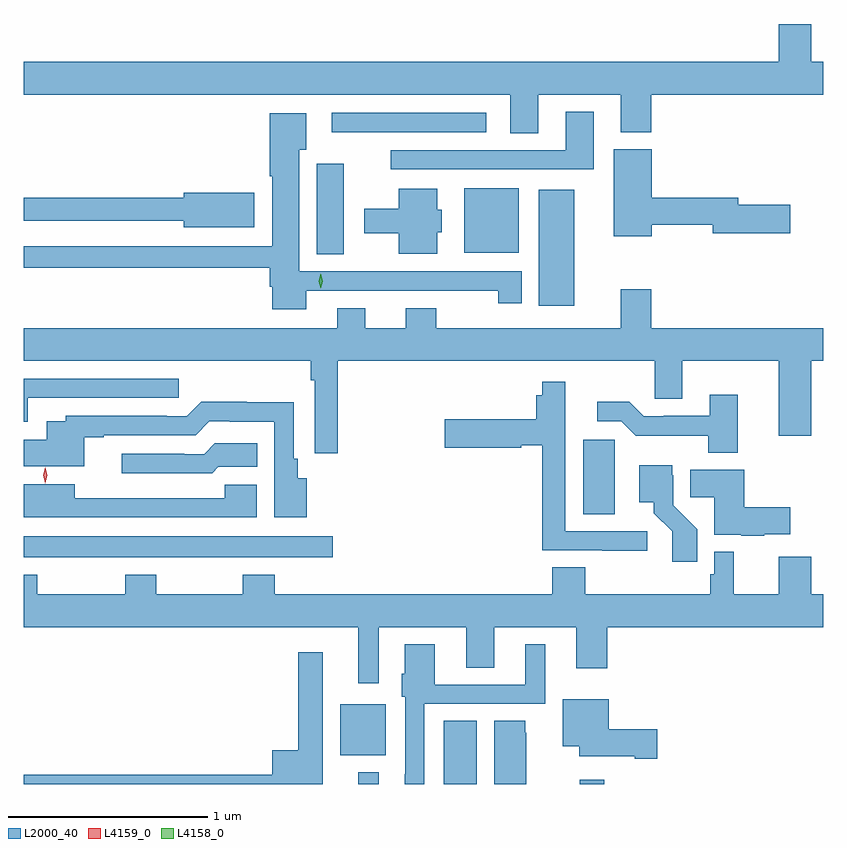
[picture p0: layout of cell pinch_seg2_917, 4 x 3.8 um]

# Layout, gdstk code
import gdstk
lib = gdstk.Library(unit=1e-6, precision=1e-09)
def R(c, l, rs):  # rectangles x0, y0, x1, y1
    for r in rs: c.add(gdstk.rectangle(r[:2], r[2:], *l))
def P(c, l, *ps):  # polygons
    for p in ps: c.add(gdstk.Polygon(p, *l))
L2000_40 = (2000, 40)
L4158_0 = (4158, 0)
L4159_0 = (4159, 0)

pinch_seg2_917 = lib.new_cell('pinch_seg2_917')
R(pinch_seg2_917, L2000_40, [(294.773,658.84,294.877,658.9), (295.202,658.84,295.366,659.156), (295.882,658.84,296.003,658.861), (294.683,658.985,294.91,659.239), (293.1,659.975,294.646,660.079), (295.898,660.19,296.056,660.561), (295.676,661.232,295.855,661.813), (294.566,661.489,294.7,661.942), (295.304,661.496,295.576,661.819), (294.642,662.1,295.414,662.196)])
P(pinch_seg2_917, L2000_40, [(295.675,662.288),(296.087,662.288),(296.087,662.099),(296.24,662.099),(296.24,662.288),(297.1,662.288),(297.1,662.452),(297.04,662.452),(297.04,662.641),(296.876,662.641),(296.876,662.452),(293.1,662.452),(293.1,662.288),(295.535,662.288),(295.535,662.095),(295.675,662.095)],
  [(295.951,662.203),(295.811,662.203),(295.811,662.01),(294.936,662.01),(294.936,661.914),(295.951,661.914)],
  [(294.514,661.308),(295.246,661.308),(295.246,661.307),(295.474,661.307),(295.474,661.245),(295.591,661.245),(295.591,661.404),(294.478,661.404),(294.478,662.012),(294.514,662.012),(294.514,662.194),(294.332,662.194),(294.332,661.879),(294.344,661.879),(294.344,661.53),(293.1,661.53),(293.1,661.422),(294.332,661.422),(294.332,661.328),(294.344,661.328),(294.344,661.214),(294.514,661.214)],
  [(296.242,661.636),(296.546,661.636),(296.546,661.594),(296.935,661.594),(296.935,661.736),(296.674,661.736),(296.674,661.772),(296.242,661.772),(296.242,662.014),(296.051,662.014),(296.051,661.58),(296.242,661.58)],
  [(295.168,661.599),(295.192,661.599),(295.192,661.713),(295.168,661.713),(295.168,661.816),(294.977,661.816),(294.977,661.717),(294.804,661.717),(294.804,661.595),(294.977,661.595),(294.977,661.493),(295.168,661.493)],
  [(294.253,661.796),(293.9,661.796),(293.9,661.772),(293.1,661.772),(293.1,661.656),(293.9,661.656),(293.9,661.625),(294.253,661.625)],
  [(294.671,660.956),(296.256,660.956),(296.256,660.766),(296.395,660.766),(296.395,660.956),(296.876,660.956),(296.876,660.582),(297.04,660.582),(297.04,660.956),(297.1,660.956),(297.1,661.12),(296.24,661.12),(296.24,661.315),(296.087,661.315),(296.087,661.12),(295.163,661.12),(295.163,661.219),(295.01,661.219),(295.01,661.12),(294.808,661.12),(294.808,661.219),(294.668,661.219),(294.668,661.12),(293.1,661.12),(293.1,660.956),(294.535,660.956),(294.535,660.86),(294.555,660.86),(294.555,660.495),(294.671,660.495)],
  [(293.121,660.771),(293.875,660.771),(293.875,660.867),(293.1,660.867),(293.1,660.651),(293.121,660.651)],
  [(296.218,660.105),(295.809,660.105),(295.809,660.853),(295.693,660.853),(295.693,660.784),(295.664,660.784),(295.664,660.663),(295.206,660.663),(295.206,660.521),(295.59,660.521),(295.59,660.533),(295.693,660.533),(295.693,660.009),(295.993,660.009),(295.993,660.007),(296.218,660.007)],
  [(296.671,660.787),(296.531,660.787),(296.531,660.681),(296.302,660.681),(296.302,660.678),(296.202,660.678),(296.129,660.751),(295.968,660.751),(295.968,660.654),(296.088,660.654),(296.161,660.582),(296.524,660.582),(296.524,660.497),(296.671,660.497)],
  [(294.517,660.37),(294.47,660.37),(294.47,660.466),(294.45,660.466),(294.45,660.749),(294.215,660.749),(294.215,660.751),(293.989,660.751),(293.916,660.678),(293.816,660.678),(293.816,660.681),(293.31,660.681),(293.31,660.655),(293.216,660.655),(293.216,660.562),(293.1,660.562),(293.1,660.428),(293.404,660.428),(293.404,660.573),(293.5,660.573),(293.5,660.585),(293.961,660.585),(294.029,660.653),(294.13,660.653),(294.13,660.651),(294.354,660.651),(294.354,660.174),(294.517,660.174)],
  [(294.074,660.426),(294.269,660.426),(294.269,660.543),(294.057,660.543),(294.003,660.489),(293.903,660.489),(293.903,660.492),(293.592,660.492),(293.592,660.395),(294.043,660.395)],
  [(296.468,660.114),(296.349,660.233),(296.349,660.384),(296.344,660.384),(296.344,660.433),(296.18,660.433),(296.18,660.248),(296.252,660.248),(296.252,660.193),(296.343,660.103),(296.343,659.952),(296.468,659.952)],
  [(296.805,660.089),(296.935,660.089),(296.935,660.224),(296.705,660.224),(296.705,660.412),(296.434,660.412),(296.434,660.274),(296.555,660.274),(296.555,660.086),(296.688,660.086),(296.688,660.082),(296.805,660.082)],
  [(293.252,660.174),(294.265,660.174),(294.265,660.337),(294.105,660.337),(294.105,660.27),(293.356,660.27),(293.356,660.34),(293.1,660.34),(293.1,660.173),(293.252,660.173)],
  [(297.1,659.788),(297.04,659.788),(297.04,659.977),(296.876,659.977),(296.876,659.788),(296.652,659.788),(296.652,660.001),(296.553,660.001),(296.553,659.889),(296.533,659.889),(296.533,659.788),(295.91,659.788),(295.91,659.924),(295.745,659.924),(295.745,659.788),(294.356,659.788),(294.356,659.887),(294.196,659.887),(294.196,659.788),(293.763,659.788),(293.763,659.887),(293.608,659.887),(293.608,659.788),(293.169,659.788),(293.169,659.887),(293.1,659.887),(293.1,659.624),(294.773,659.624),(294.773,659.343),(294.877,659.343),(294.877,659.624),(295.313,659.624),(295.313,659.422),(295.453,659.422),(295.453,659.624),(295.865,659.624),(295.865,659.418),(296.018,659.418),(296.018,659.624),(297.1,659.624)],
  [(295.104,659.241),(295.708,659.241),(295.708,659.539),(295.61,659.539),(295.61,659.337),(295.156,659.337),(295.156,659.539),(295.007,659.539),(295.007,659.391),(294.992,659.391),(294.992,659.277),(295.008,659.277),(295.008,658.889),(295.007,658.889),(295.007,658.84),(295.104,658.84)],
  [(294.595,659.5),(294.474,659.5),(294.474,659.008),(294.344,659.008),(294.344,658.886),(293.1,658.886),(293.1,658.84),(294.595,658.84)],
  [(296.269,659.114),(296.026,659.114),(296.026,659.263),(295.796,659.263),(295.796,659.03),(295.88,659.03),(295.88,658.979),(296.156,658.979),(296.156,658.967),(296.269,658.967)],
  [(295.615,659.097),(295.609,659.097),(295.609,659.156),(295.454,659.156),(295.454,658.84),(295.615,658.84)])
P(pinch_seg2_917, L4158_0, [(294.587,661.319),(294.587,661.319),(294.576,661.355),(294.586,661.391),(294.586,661.391),(294.586,661.391),(294.596,661.355),(294.587,661.319)])
P(pinch_seg2_917, L4159_0, [(293.208,660.344),(293.208,660.344),(293.198,660.384),(293.208,660.425),(293.208,660.425),(293.208,660.425),(293.218,660.385),(293.209,660.344)])

lib.write_gds('pinch_seg2_917.gds')
